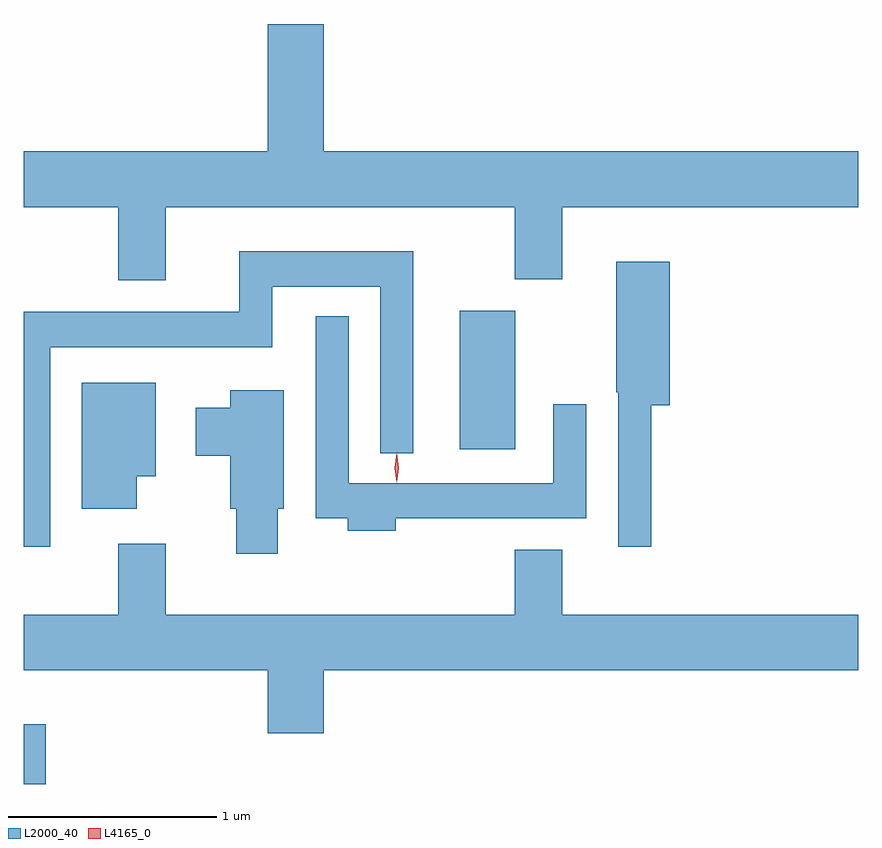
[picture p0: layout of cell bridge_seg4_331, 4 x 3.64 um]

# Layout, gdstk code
import gdstk
lib = gdstk.Library(unit=1e-6, precision=1e-09)
def R(c, l, rs):  # rectangles x0, y0, x1, y1
    for r in rs: c.add(gdstk.rectangle(r[:2], r[2:], *l))
def P(c, l, *ps):  # polygons
    for p in ps: c.add(gdstk.Polygon(p, *l))
L2000_40 = (2000, 40)
L4165_0 = (4165, 0)

bridge_seg4_331 = lib.new_cell('bridge_seg4_331')
R(bridge_seg4_331, L2000_40, [(673.447,1267.552,673.554,1267.839), (675.536,1269.156,675.804,1269.819)])
P(bridge_seg4_331, L2000_40, [(674.129,1270.316),(675.801,1270.316),(675.801,1269.971),(676.029,1269.971),(676.029,1270.316),(677.447,1270.316),(677.447,1270.584),(674.884,1270.584),(674.884,1271.194),(674.616,1271.194),(674.616,1270.584),(673.447,1270.584),(673.447,1270.316),(673.901,1270.316),(673.901,1269.966),(674.129,1269.966)],
  [(673.574,1269.646),(674.639,1269.646),(674.639,1269.936),(675.156,1269.936),(675.156,1269.138),(675.314,1269.138),(675.314,1270.104),(674.481,1270.104),(674.481,1269.814),(673.447,1269.814),(673.447,1268.688),(673.574,1268.688)],
  [(676.454,1269.366),(676.544,1269.366),(676.544,1270.054),(676.286,1270.054),(676.286,1269.43),(676.296,1269.43),(676.296,1268.688),(676.454,1268.688)],
  [(675.229,1268.826),(676.144,1268.826),(676.144,1269.373),(675.986,1269.373),(675.986,1268.994),(675.004,1268.994),(675.004,1269.793),(674.846,1269.793),(674.846,1268.826),(675.001,1268.826),(675.001,1268.766),(675.229,1268.766)],
  [(673.989,1269.026),(674.079,1269.026),(674.079,1269.474),(673.726,1269.474),(673.726,1268.871),(673.989,1268.871)],
  [(674.664,1268.871),(674.694,1268.871),(674.694,1269.439),(674.436,1269.439),(674.436,1269.354),(674.271,1269.354),(674.271,1269.126),(674.436,1269.126),(674.436,1268.871),(674.466,1268.871),(674.466,1268.656),(674.664,1268.656)],
  [(674.884,1268.096),(677.447,1268.096),(677.447,1268.364),(676.029,1268.364),(676.029,1268.674),(675.801,1268.674),(675.801,1268.364),(674.129,1268.364),(674.129,1268.704),(673.901,1268.704),(673.901,1268.364),(673.447,1268.364),(673.447,1268.096),(674.616,1268.096),(674.616,1267.796),(674.884,1267.796)])
P(bridge_seg4_331, L4165_0, [(675.235,1268.997),(675.235,1268.997),(675.225,1269.067),(675.235,1269.136),(675.235,1269.136),(675.236,1269.136),(675.245,1269.067),(675.236,1268.997)],
  [(675.235,1269),(675.226,1269.066),(675.235,1269.132),(675.235,1269.133),(675.236,1269.132),(675.245,1269.066),(675.236,1269),(675.236,1269)])

lib.write_gds('bridge_seg4_331.gds')
